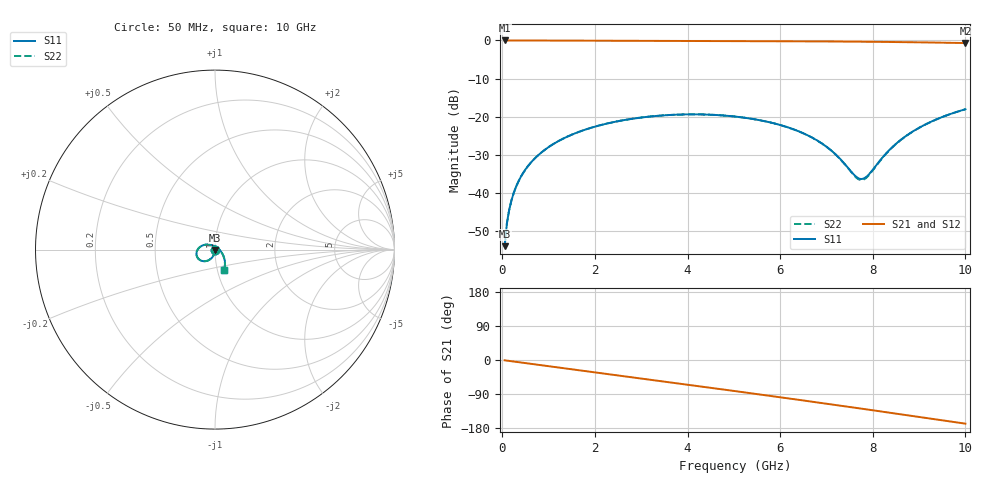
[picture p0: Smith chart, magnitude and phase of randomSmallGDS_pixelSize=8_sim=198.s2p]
! freq	dB(S11)	phase(S11)	dB(S12)	phase(S12)
!  dB(S21)	phase(S21)	dB(S22)	phase(S22)
!S-par simulation data
#  GHz  S  DB  R 50
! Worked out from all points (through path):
!   200 points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, 50 MHz to 10 GHz, reference 50 ohm
!   highest |S21| = 0.00 dB at 50 MHz (marker M1); lowest = -0.7 dB at 10 GHz (marker M2)
!   group delay of S21, straight-line fit = 46.5 ps
!   lowest |S11| = -53.9 dB at 50 MHz (marker M3), VSWR 1.00, Z = 50 - j0.202 ohm
!   |S11| at or under -10 dB: start of sweep to end of sweep
!   |S22| runs from -53.9 to -18.0 dB; largest |S21 - S12| = 0
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0.05  -53.91 -90.4  -0.00 -0.8  -0.00 -0.8  -53.91 -90.4
0.1  -47.87 -91.8  -0.00 -1.6  -0.00 -1.6  -47.87 -91.8
0.15  -44.33 -92.9  -0.00 -2.5  -0.00 -2.5  -44.33 -92.9
0.2  -41.81 -93.9  -0.00 -3.3  -0.00 -3.3  -41.81 -93.9
0.35  -36.91 -96.5  -0.01 -5.8  -0.01 -5.8  -36.91 -96.5
0.5  -33.81 -99.0  -0.01 -8.2  -0.01 -8.2  -33.81 -99.0
0.7  -30.93 -102.3  -0.02 -11.5  -0.02 -11.5  -30.93 -102.3
1  -27.94 -107.3  -0.03 -16.4  -0.03 -16.4  -27.94 -107.3
1.75  -23.54 -119.8  -0.05 -28.6  -0.05 -28.6  -23.54 -119.8
2.5  -21.15 -132.2  -0.08 -40.7  -0.08 -40.7  -21.15 -132.2
3.4  -19.71 -147.3  -0.11 -55.4  -0.11 -55.4  -19.70 -147.2
5.05  -19.97 -176.2  -0.17 -82.4  -0.17 -82.4  -19.97 -176.0
5.95  -21.99 166.1  -0.20 -97.5  -0.20 -97.5  -21.99 166.3
6.7  -25.52 147.6  -0.24 -110.2  -0.24 -110.2  -25.53 147.9
7.1  -28.80 132.6  -0.26 -117.0  -0.26 -117.0  -28.83 133.2
7.6  -35.25 86.8  -0.31 -125.7  -0.31 -125.7  -35.44 87.7
7.75  -36.32 57.0  -0.32 -128.3  -0.32 -128.3  -36.60 57.2
7.9  -35.30 26.3  -0.34 -130.9  -0.34 -130.9  -35.54 25.8
8.35  -28.81 -19.6  -0.39 -138.8  -0.39 -138.8  -28.88 -20.3
8.65  -25.63 -32.8  -0.43 -144.1  -0.43 -144.1  -25.66 -33.4
9.05  -22.55 -44.9  -0.50 -151.2  -0.50 -151.2  -22.57 -45.4
10  -18.03 -66.2  -0.68 -168.0  -0.68 -168.0  -18.05 -66.5
